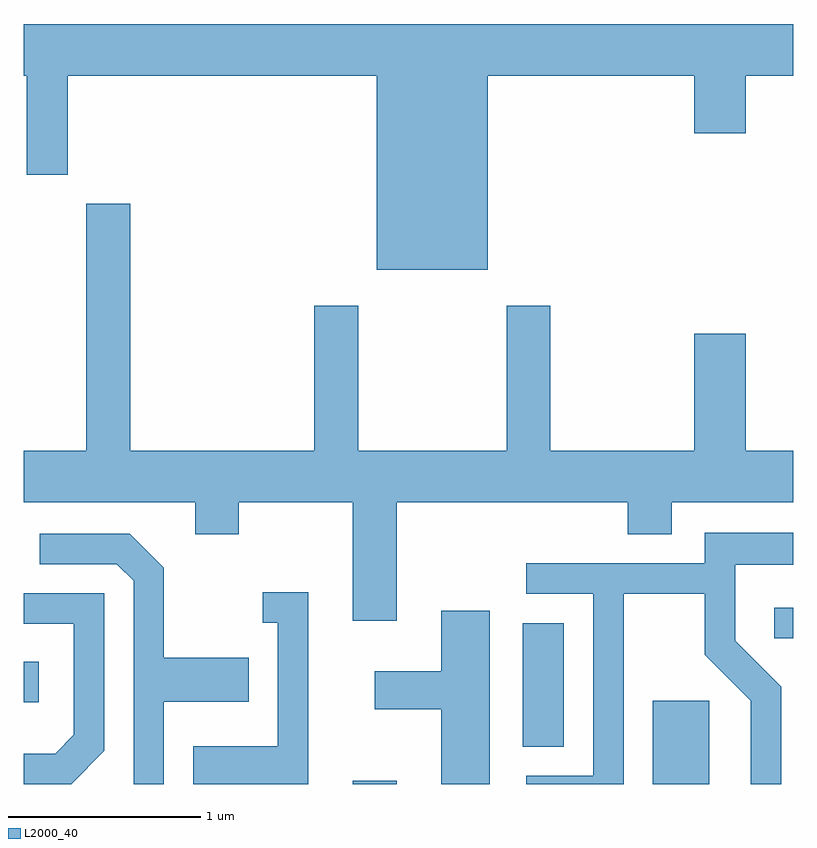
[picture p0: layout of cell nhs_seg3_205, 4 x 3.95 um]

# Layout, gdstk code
import gdstk
lib = gdstk.Library(unit=1e-6, precision=1e-09)
def R(c, l, rs):  # rectangles x0, y0, x1, y1
    for r in rs: c.add(gdstk.rectangle(r[:2], r[2:], *l))
def P(c, l, *ps):  # polygons
    for p in ps: c.add(gdstk.Polygon(p, *l))
L2000_40 = (2000, 40)

nhs_seg3_205 = lib.new_cell('nhs_seg3_205')
R(nhs_seg3_205, L2000_40, [(193.321,1117.892,193.549,1117.909), (194.881,1117.892,195.174,1118.324), (194.206,1118.086,194.419,1118.729), (191.611,1118.316,191.689,1118.529), (195.513,1118.651,195.611,1118.809)])
P(nhs_seg3_205, L2000_40, [(194.024,1121.576),(195.096,1121.576),(195.096,1121.276),(195.364,1121.276),(195.364,1121.576),(195.611,1121.576),(195.611,1121.844),(191.611,1121.844),(191.611,1121.576),(191.626,1121.576),(191.626,1121.061),(191.839,1121.061),(191.839,1121.576),(193.446,1121.576),(193.446,1120.566),(194.024,1120.566)],
  [(193.549,1119.356),(194.751,1119.356),(194.751,1119.191),(194.979,1119.191),(194.979,1119.356),(195.611,1119.356),(195.611,1119.624),(195.364,1119.624),(195.364,1120.234),(195.096,1120.234),(195.096,1119.624),(194.349,1119.624),(194.349,1120.379),(194.121,1120.379),(194.121,1119.624),(193.349,1119.624),(193.349,1120.379),(193.121,1120.379),(193.121,1119.624),(192.164,1119.624),(192.164,1120.909),(191.936,1120.909),(191.936,1119.624),(191.611,1119.624),(191.611,1119.356),(192.501,1119.356),(192.501,1119.191),(192.729,1119.191),(192.729,1119.356),(193.321,1119.356),(193.321,1118.741),(193.549,1118.741)],
  [(194.729,1118.881),(195.151,1118.881),(195.151,1118.564),(195.391,1118.324),(195.391,1117.892),(195.549,1117.892),(195.549,1118.397),(195.309,1118.637),(195.309,1119.031),(195.611,1119.031),(195.611,1119.199),(195.151,1119.199),(195.151,1119.039),(194.223,1119.039),(194.223,1118.881),(194.571,1118.881),(194.571,1117.934),(194.223,1117.934),(194.223,1117.892),(194.729,1117.892)],
  [(192.339,1118.321),(192.779,1118.321),(192.779,1118.549),(192.339,1118.549),(192.339,1119.017),(192.162,1119.194),(191.693,1119.194),(191.693,1119.036),(192.094,1119.036),(192.181,1118.949),(192.181,1117.892),(192.339,1117.892)],
  [(193.089,1118.889),(192.853,1118.889),(192.853,1118.731),(192.931,1118.731),(192.931,1118.089),(192.491,1118.089),(192.491,1117.892),(193.089,1117.892)],
  [(192.029,1118.064),(192.029,1118.884),(191.611,1118.884),(191.611,1118.726),(191.871,1118.726),(191.871,1118.147),(191.774,1118.049),(191.611,1118.049),(191.611,1117.892),(191.858,1117.892)],
  [(194.034,1118.794),(193.781,1118.794),(193.781,1118.479),(193.436,1118.479),(193.436,1118.281),(193.781,1118.281),(193.781,1117.892),(194.034,1117.892)])

lib.write_gds('nhs_seg3_205.gds')
